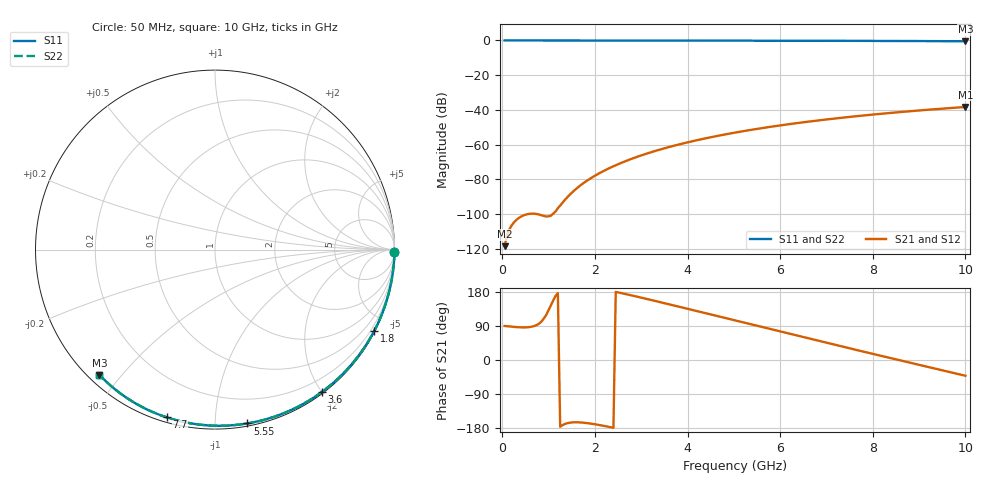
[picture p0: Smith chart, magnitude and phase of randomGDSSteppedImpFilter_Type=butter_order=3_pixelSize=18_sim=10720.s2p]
! freq	dB(S11)	phase(S11)	dB(S12)	phase(S12)
!  dB(S21)	phase(S21)	dB(S22)	phase(S22)
!S-par simulation data
#  GHz  S  DB  R 50
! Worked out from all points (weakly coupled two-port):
!   200 points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, 50 MHz to 10 GHz, reference 50 ohm
!   highest |S21| = -38.31 dB at 10 GHz (marker M1); lowest = -118.5 dB at 50 MHz (marker M2)
!   lowest |S11| = -0.4 dB at 10 GHz (marker M3), VSWR 38.76, Z = 1.54 - j21.9 ohm
!   |S11| at or under -10 dB: nowhere
!   |S22| runs from -0.4 to 0.0 dB; largest |S21 - S12| = 0
!   S11 on the Smith chart (normalised r, x): 50 MHz: open; 1.8 GHz: 0.04, -4.13; 3.6 GHz: 0.02, -2.00; 5.55 GHz: 0.02, -1.20; 7.7 GHz: 0.02, -0.75; 10 GHz: 0.03, -0.44
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0.05  -0.00 -0.8  -118.47 89.9  -118.47 89.9  -0.00 -0.8
0.9  -0.02 -13.7  -101.09 110.1  -101.09 110.1  -0.02 -13.7
1.75  -0.03 -26.5  -82.22 -165.4  -82.22 -165.4  -0.03 -26.5
1.8  -0.03 -27.2  -81.27 -166.1  -81.27 -166.1  -0.03 -27.2
1.85  -0.04 -27.9  -80.38 -166.8  -80.38 -166.8  -0.04 -27.9
1.9  -0.04 -28.7  -79.52 -167.6  -79.52 -167.6  -0.04 -28.7
2.05  -0.04 -30.9  -77.13 -170.6  -77.13 -170.6  -0.04 -30.9
2.25  -0.04 -33.8  -74.32 -175.2  -74.32 -175.2  -0.04 -33.8
2.45  -0.05 -36.8  -71.84 179.8  -71.84 179.8  -0.05 -36.8
2.65  -0.05 -39.7  -69.61 174.4  -69.61 174.4  -0.05 -39.7
3  -0.06 -44.7  -66.20 164.6  -66.20 164.6  -0.06 -44.7
3.4  -0.07 -50.4  -62.86 153.0  -62.86 153.0  -0.07 -50.4
3.6  -0.07 -53.2  -61.37 147.1  -61.37 147.1  -0.07 -53.2
4.3  -0.09 -62.8  -56.87 126.2  -56.87 126.2  -0.09 -62.8
5.05  -0.11 -72.9  -52.95 103.6  -52.95 103.6  -0.11 -72.9
5.55  -0.13 -79.4  -50.72 88.6  -50.72 88.6  -0.13 -79.4
6.1  -0.15 -86.4  -48.55 72.2  -48.55 72.2  -0.15 -86.4
6.7  -0.18 -93.9  -46.45 54.3  -46.45 54.3  -0.18 -93.9
7.7  -0.24 -106.0  -43.47 24.9  -43.47 24.9  -0.24 -106.0
8.35  -0.29 -113.7  -41.81 6.0  -41.81 6.0  -0.29 -113.7
9.15  -0.36 -123.0  -39.99 -17.1  -39.99 -17.1  -0.36 -123.0
10  -0.45 -132.7  -38.31 -41.6  -38.31 -41.6  -0.45 -132.7
